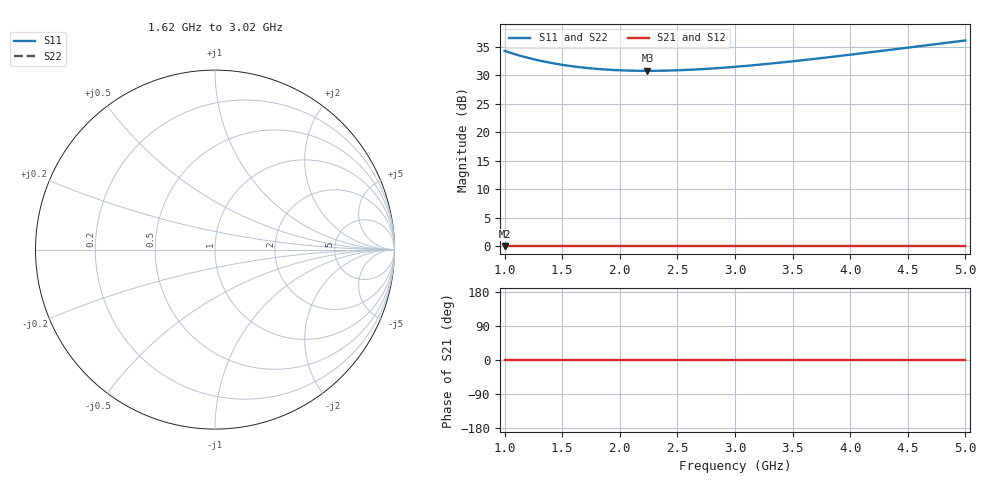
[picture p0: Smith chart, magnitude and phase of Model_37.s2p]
# GHZ S RI R 50
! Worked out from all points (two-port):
!   401 points, 1 GHz to 5 GHz, reference 50 ohm
!   highest |S21| = 0.00 dB at 1 GHz (marker M1); lowest = 0.0 dB at 1 GHz (marker M2)
!   |S21| within 3 dB of the highest: start of sweep to end of sweep
!   lowest |S11| = 30.8 dB at 2.24 GHz (marker M3)
!   |S11| at or under -10 dB: nowhere
!   |S22| runs from 30.8 to 36.1 dB; largest |S21 - S12| = 0
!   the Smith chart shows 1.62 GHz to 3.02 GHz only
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1  51.6 0  1 0  1 0  51.6 0
1.15  46.31 0  1 0  1 0  46.31 0
1.22  44.37 0  1 0  1 0  44.37 0
1.3  42.47 0  1 0  1 0  42.47 0
1.38  40.87 0  1 0  1 0  40.87 0
1.47  39.37 0  1 0  1 0  39.37 0
1.57  38 0  1 0  1 0  38 0
1.67  36.92 0  1 0  1 0  36.92 0
1.8  35.86 0  1 0  1 0  35.86 0
1.94  35.09 0  1 0  1 0  35.09 0
2.09  34.63 0  1 0  1 0  34.63 0
2.24  34.48 0  1 0  1 0  34.48 0
2.34  34.53 0  1 0  1 0  34.53 0
2.5  34.85 0  1 0  1 0  34.85 0
2.66  35.43 0  1 0  1 0  35.43 0
3  37.38 0  1 0  1 0  37.38 0
3.33  40.1 0  1 0  1 0  40.1 0
3.67  43.64 0  1 0  1 0  43.64 0
4  47.74 0  1 0  1 0  47.74 0
4.34  52.58 0  1 0  1 0  52.58 0
4.63  57.19 0  1 0  1 0  57.19 0
5  63.67 0  1 0  1 0  63.67 0
